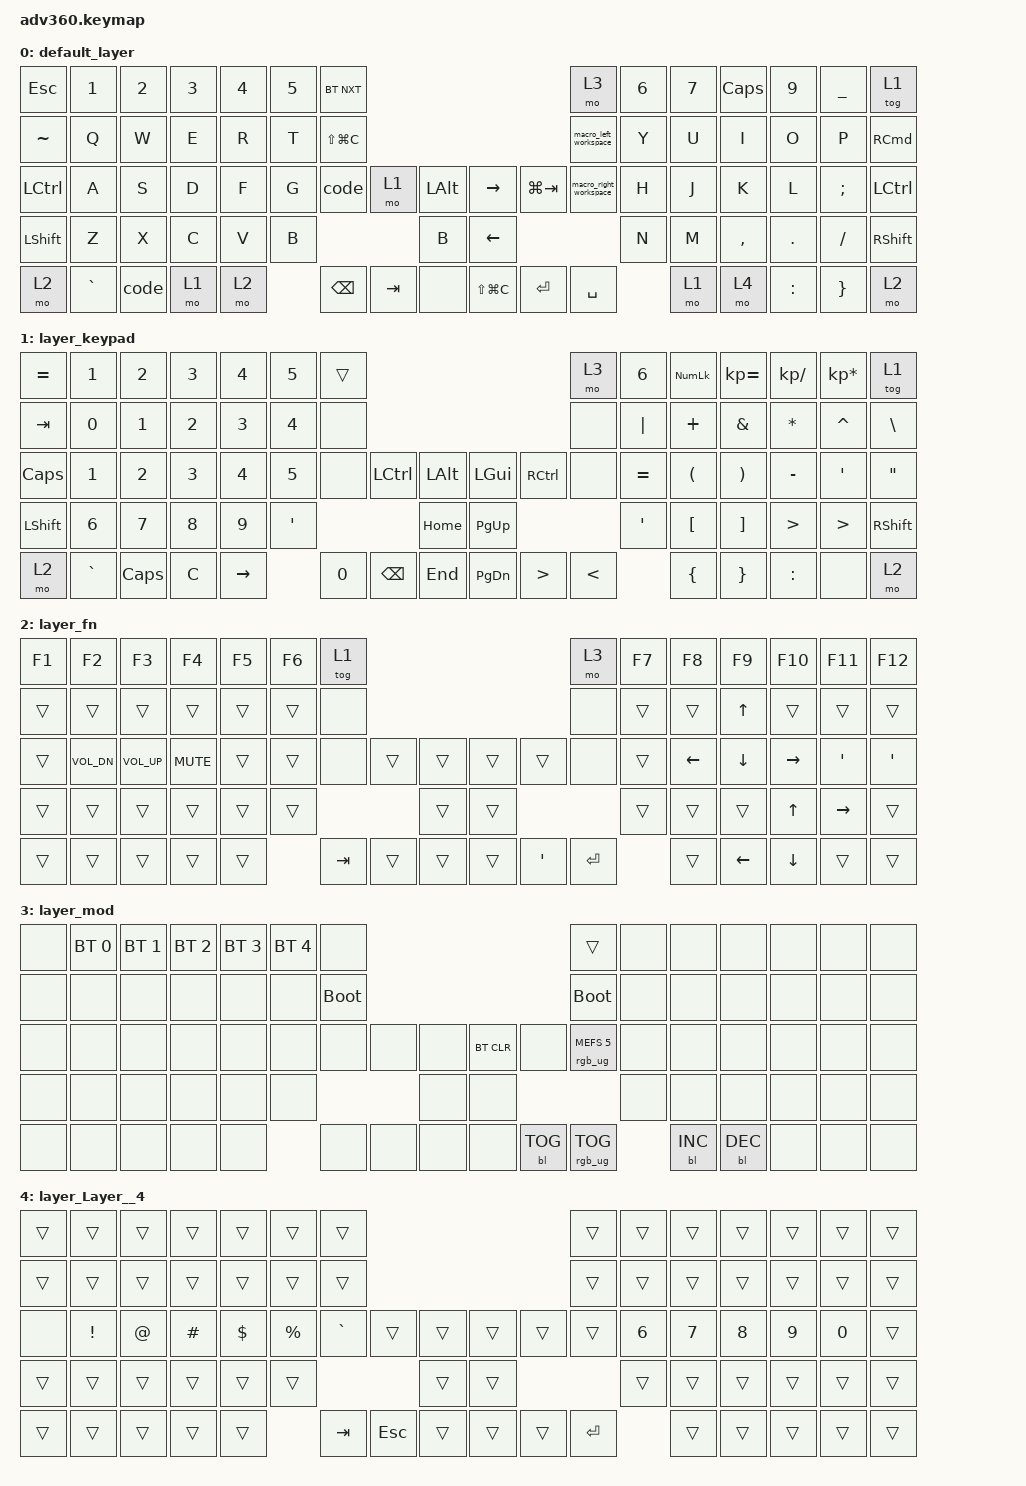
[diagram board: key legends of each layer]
/*
 * Copyright (c) 2020 The ZMK Contributors
 *
 * SPDX-License-Identifier: MIT
 */
/* THIS FILE WAS GENERATED!
 *
 * This file was generated automatically. You may or may not want to
 * edit it directly.
 */

#include <behaviors.dtsi>
#include <dt-bindings/zmk/backlight.h>
#include <dt-bindings/zmk/bt.h>
#include <dt-bindings/zmk/keys.h>
#include <dt-bindings/zmk/rgb.h>

/ {
    behaviors {
        #include "macros.dtsi"
    #include "version.dtsi"

        hm: homerow_mods {
            compatible = "zmk,behavior-hold-tap";
            label = "HOMEROW_MODS";
            #binding-cells = <2>;
            tapping-term-ms = <200>;
            quick_tap_ms = <175>;
            flavor = "tap-preferred";
            bindings = <&kp>, <&kp>;
        };
    };

    macros {
        code: code {
            compatible = "zmk,behavior-macro";
            #binding-cells = <0>;
            bindings = <&kp LEFT_SHIFT &kp LEFT_COMMAND &kp C>;
            label = "CODE";
        };

        next_app: next_app {
            compatible = "zmk,behavior-macro";
            #binding-cells = <0>;
            bindings = <&kp LEFT_GUI &kp TAB &kp RIGHT>;
            label = "NEXT_APP";
        };
    };

    keymap {
        compatible = "zmk,keymap";

        default_layer {
            bindings = <
&kp ESCAPE  &kp NUMBER_1  &kp N2  &kp N3  &kp N4  &kp N5  &bt BT_NXT                                                        &mo 3                   &kp N6  &kp N7  &kp CAPSLOCK  &kp N9     &kp UNDERSCORE   &tog 1
&kp TILDE   &kp Q         &kp W   &kp E   &kp R   &kp T   &kp LS(LG(C))                                                     &macro_left_workspace   &kp Y   &kp U   &kp I         &kp O      &kp P            &kp RIGHT_COMMAND
&kp LCTRL   &kp A         &kp S   &kp D   &kp F   &kp G   &code          &mo 1    &kp LALT      &kp RIGHT      &kp LG(TAB)  &macro_right_workspace  &kp H   &kp J   &kp K         &kp L      &kp SEMICOLON    &kp LEFT_CONTROL
&kp LSHFT   &kp Z         &kp X   &kp C   &kp V   &kp B                           &kp B         &kp LEFT                                            &kp N   &kp M   &kp COMMA     &kp DOT    &kp FSLH         &kp RIGHT_SHIFT
&mo 2       &kp GRAVE     &code   &mo 1   &mo 2           &kp BACKSPACE  &kp TAB  &none         &kp LS(LG(C))  &kp ENTER    &kp SPACE                       &mo 1   &mo 4         &kp COLON  &kp RIGHT_BRACE  &mo 2
            >;
        };

        layer_keypad {
            bindings = <
&kp EQUAL  &kp N1     &kp N2    &kp N3  &kp N4     &kp N5            &trans                                                            &mo 3          &kp N6            &kp KP_NUM            &kp KP_EQUAL           &kp KP_DIVIDE     &kp KP_MULTIPLY  &tog 1
&kp TAB    &kp N0     &kp N1    &kp N2  &kp N3     &kp N4            &none                                                             &none          &kp PIPE          &kp PLUS              &kp AMPS               &kp STAR          &kp CARET        &kp BSLH
&kp CAPS   &kp N1     &kp N2    &kp N3  &kp N4     &kp N5            &none   &kp LCTRL      &kp LALT      &kp LGUI   &kp RCTRL         &none          &kp EQUAL         &kp LEFT_PARENTHESIS  &kp RIGHT_PARENTHESIS  &kp MINUS         &kp APOS         &kp DOUBLE_QUOTES
&kp LSHFT  &kp N6     &kp N7    &kp N8  &kp N9     &kp SINGLE_QUOTE                         &kp HOME      &kp PG_UP                                   &kp SINGLE_QUOTE  &kp LEFT_BRACKET      &kp RIGHT_BRACKET      &kp GREATER_THAN  &kp GT           &kp RSHFT
&mo 2      &kp GRAVE  &kp CAPS  &kp C   &kp RIGHT                    &kp N0  &kp BACKSPACE  &kp END       &kp PG_DN  &kp GREATER_THAN  &kp LESS_THAN                    &kp LEFT_BRACE        &kp RIGHT_BRACE        &kp COLON         &none            &mo 2
            >;
        };

        layer_fn {
            bindings = <
&kp F1  &kp F2        &kp F3        &kp F4      &kp F5  &kp F6  &tog 1                                         &mo 3      &kp F7  &kp F8          &kp F9          &kp F10          &kp F11           &kp F12
&trans  &trans        &trans        &trans      &trans  &trans  &none                                          &none      &trans  &trans          &kp UP_ARROW    &trans           &trans            &trans
&trans  &kp C_VOL_DN  &kp C_VOL_UP  &kp C_MUTE  &trans  &trans  &none    &trans  &trans      &trans  &trans    &none      &trans  &kp LEFT_ARROW  &kp DOWN_ARROW  &kp RIGHT_ARROW  &kp SINGLE_QUOTE  &kp SINGLE_QUOTE
&trans  &trans        &trans        &trans      &trans  &trans                   &trans      &trans                       &trans  &trans          &trans          &kp UP_ARROW     &kp RIGHT_ARROW   &trans
&trans  &trans        &trans        &trans      &trans          &kp TAB  &trans  &trans      &trans  &kp APOS  &kp ENTER          &trans          &kp LEFT_ARROW  &kp DOWN_ARROW   &trans            &trans
            >;
        };

        layer_mod {
            bindings = <
&none  &bt BT_SEL 0  &bt BT_SEL 1  &bt BT_SEL 2  &bt BT_SEL 3  &bt BT_SEL 4  &none                                                  &trans                  &none  &none       &none       &none  &none  &none
&none  &none         &none         &none         &none         &none         &bootloader                                            &bootloader             &none  &none       &none       &none  &none  &none
&none  &none         &none         &none         &none         &none         &none        &none  &none      &bt BT_CLR  &none       &rgb_ug RGB_MEFS_CMD 5  &none  &none       &none       &none  &none  &none
&none  &none         &none         &none         &none         &none                             &none      &none                                           &none  &none       &none       &none  &none  &none
&none  &none         &none         &none         &none                       &none        &none  &none      &none       &bl BL_TOG  &rgb_ug RGB_TOG                &bl BL_INC  &bl BL_DEC  &none  &none  &none
            >;
        };

        layer_Layer__4 {
            bindings = <
&trans  &trans           &trans  &trans    &trans      &trans       &trans                                          &trans     &trans  &trans  &trans  &trans  &trans  &trans
&trans  &trans           &trans  &trans    &trans      &trans       &trans                                          &trans     &trans  &trans  &trans  &trans  &trans  &trans
&none   &kp EXCLAMATION  &kp AT  &kp HASH  &kp DOLLAR  &kp PERCENT  &kp GRAVE  &trans   &trans      &trans  &trans  &trans     &kp N6  &kp N7  &kp N8  &kp N9  &kp N0  &trans
&trans  &trans           &trans  &trans    &trans      &trans                           &trans      &trans                     &trans  &trans  &trans  &trans  &trans  &trans
&trans  &trans           &trans  &trans    &trans                   &kp TAB    &kp ESC  &trans      &trans  &trans  &kp ENTER          &trans  &trans  &trans  &trans  &trans
            >;
        };
    };
};
